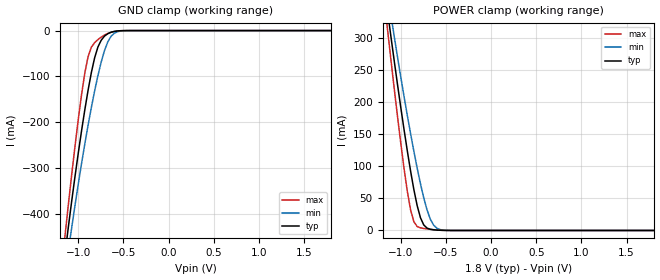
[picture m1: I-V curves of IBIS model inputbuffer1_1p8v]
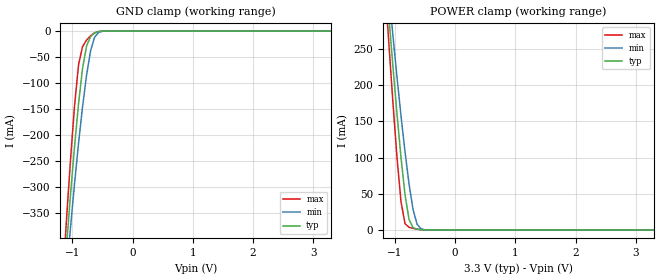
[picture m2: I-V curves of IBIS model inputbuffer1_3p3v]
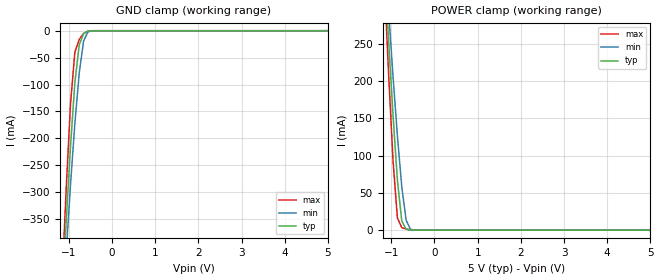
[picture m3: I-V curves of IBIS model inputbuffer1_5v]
|   ADI IBIS Modeling
[IBIS Ver]   3.2
[File Name]   adm3055e_20ld_soic.ibs
[File Rev]   1.0
[Date]   June 4, 2018
[Source]   Analog Devices, Inc.
[Disclaimer]
|   IBIS MODEL LICENSE AND DISCLAIMER AGREEMENT
|  Before downloading or using the below-referenced IBIS model, please read and
|  accept the license agreement and disclaimer shown below.
|   LICENSE STATEMENT
|  The information in this IBIS model is protected under the copyright laws of
|  the United States and other countries. Analog Devices, Inc. ("ADI") hereby
|  grants the users of this IBIS model (hereto referred to as licensee) a
|  nonexclusive, nontransferable license to use this IBIS model as long as the
|  licensee abides by the terms of this agreement.
|  Before using the IBIS model, the licensee should read this license. By using
|  , copying, modifying or redistributing this IBIS model,licensee accepts and
|  agrees to become bound by the terms of this agreement. If the licensee does
|  not accept these terms, then the licensee should not use the IBIS model and
|  should return it to ADI immediately.
|  The licensee may not sell, loan, rent, lease, distribute or license the IBIS
|  model,in whole, in part, or in modified form, to anyone outside the
|  licensee's company. The licensee may modify the IBIS model to suit his
|  specific applications, provided that all rights in such modifications and
|  derivative works shall belong to ADI. The licensee may make copies of this
|  IBIS model for use within his company only.
|  THIS IBIS MODEL IS PROVIDED AS IS, WHERE IS, AND WITH NO WARRANTY OF ANY
|  KIND EITHER EXPRESSED OR IMPLIED, INCLUDING BUT NOT LIMITED TO ANY IMPLIED
|  WARRANTIES OF MERCHANTABILITY AND FITNESS FOR A PARTICULAR PURPOSE.
|  Licensee understands that the mathematical behavioral characteristics and
|  formulas for the IBIS model have not been fully characterized for production
|  specification or exact compliance to actual part operation. The IBIS model
|  is useful for general simulations but not intended for safety critical,
|  manufacturing yield, or similar safety or financial decision making
|  simulations. IN NO EVENT SHALL THE ACCRUED TOTAL LIABILITY OF ANALOG DEVICES
|  , INC. FROM ANY LAWSUIT, CLAIM, WARRANTY OR INDEMNITY EXCEED One Hundred
|  Dollars ($100.00). In no event will ADI be liable for indirect, special,
|  collateral, incidental, consequential or punitive damages in connection with
|  or arising out of the use of this IBIS model. ADI reserves the right to
|  make changes to its products and the IBIS model without prior notice.
|  The Parties agree that the foregoing terms constitute the entire agreement
|  and that this agreement shall be governed by and construed in accordance
|  with the laws of the Commonwealth of Massachusetts and the United States,
|  without regard to choice of law provisions.
|   RLC Package Parasitic
|  This part comes in 20-lead SOIC_IC (Wide Body with Increased Creepage)
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[Copyright]
|   This model is an exclusive property of Analog Devices Inc
|   and is not to be resold or redistributed without the written
|   permission of Analog Devices.
|   Copyright(c) 2013 Analog Devices, All Rights Reserved
[Component]   adm3055e
[Manufacturer] Analog Devices, Inc.
[Package]
|20-lead SOIC_IC
| variable   typ   min   max
R_pkg 1.00E-02 1.00E-02 1.00E-02
L_pkg 2.01E-09 1.87E-09 2.15E-09
C_pkg 5.25E-13 4.83E-13 5.67E-13
[Pin] signal_name   model_name
1 GND1 GND
2 GND1 GND
3 VCC Power
4 VIO Power
5 RXD outputbuffer1
6 SILENT inputbuffer1
7 TXD inputbuffer2
8 STBY inputbuffer3
9 AUXin inputbuffer4
10 GND1 GND
11 GND2 GND
12 RS inputbuffer5
13 CANL i/o_open_drain
14 CANH i/o_open_source
15 GND2 GND
16 VISOin Power
17 AUXout outputbuffer2
18 GNDiso GND
19 VISOout Power
20 GNDiso GND
[Diff Pin] inv_pin vdiff tdelay_typ tdelay_min tdelay_max
13  14  200mV  NA  NA  NA
[Model Selector] inputbuffer1
inputbuffer1_1p8v  1.8v vdd
inputbuffer1_3p3v  3.3v vdd
inputbuffer1_5v  5v vdd
[Model Selector] inputbuffer2
inputbuffer2_1p8v  1.8v vdd
inputbuffer2_3p3v  3.3v vdd
inputbuffer2_5v  5v vdd
[Model Selector] inputbuffer3
inputbuffer3_1p8v  1.8v vdd
inputbuffer3_3p3v  3.3v vdd
inputbuffer3_5v  5v vdd
[Model Selector] inputbuffer4
inputbuffer4_1p8v  1.8v vdd
inputbuffer4_3p3v  3.3v vdd
inputbuffer4_5v  5v vdd
[Model Selector] outputbuffer1
outputbuffer1_1p8v  1.8v vdd
outputbuffer1_3p3v  3.3v vdd
outputbuffer1_5v  5v vdd
[Model Selector] outputbuffer2
outputbuffer2_1p8v  1.8v vdd
outputbuffer2_3p3v  3.3v vdd
outputbuffer2_5v  5v vdd
| Models and submodels in the file (21): inputbuffer1_1p8v (Input), inputbuffer1_3p3v (Input), inputbuffer1_5v (Input), inputbuffer2_1p8v (Input), inputbuffer2_3p3v (Input), inputbuffer2_5v (Input), inputbuffer3_1p8v (Input), inputbuffer3_3p3v (Input), inputbuffer3_5v (Input), inputbuffer4_1p8v (Input), inputbuffer4_3p3v (Input), inputbuffer4_5v (Input), inputbuffer5 (Input), outputbuffer1_1p8v (3-state), outputbuffer1_3p3v (3-state), outputbuffer1_5v (3-state), outputbuffer2_1p8v (Output), outputbuffer2_3p3v (Output), outputbuffer2_5v (Output), i/o_open_drain (I/O_open_drain), i/o_open_source (I/O_open_source)
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|   Model: inputbuffer1_1p8v
[Model]   inputbuffer1_1p8v
Model_type Input
Vinl=0.63
Vinh=1.17
|   variable   typ   min   max
C_comp   2.711574e-12 2.536137e-12 2.929808e-12
[Temperature Range]   25   105   -40
[Voltage Range]   1.8   1.7   1.9
[Power Clamp Reference] 1.8   1.7   1.9
[GND Clamp Reference]   0   0   0
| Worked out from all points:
|   GND clamp passes 1 mA (typ) near -0.57 V on its own axis
|   POWER clamp passes 1 mA (typ) near -0.63 V on its own axis
[Power_clamp]
| Voltage   I(typ)   I(min)   I(max)
-1.8V     1.134A     1.044A     1.248A
-1.145V   341.1mA    369.5mA    312.2mA
-1.109V   302.5mA    335.9mA    266.6mA
-1.073V   264.8mA    302.9mA    221.9mA
-927.3mV  124.1mA    179.3mA    61.2mA
-890.9mV  92.55mA    150.8mA    32.1mA
-854.5mV  63.65mA    123.3mA    13.67mA
-818.2mV  38.76mA    97.28mA    6.212mA
-745.5mV  8.673mA    50.96mA    3.148mA
-672.7mV  1.836mA    17.74mA    1.771mA
-563.6mV  348.7uA    1.392mA    401.5uA
1.8V      -29.23pA   -2.186nA   -22.52pA
[GND_clamp]
| Voltage   I(typ)   I(min)   I(max)
-1.8V     -1.697A    -1.551A    -1.895A
-1.145V   -485.5mA   -531.2mA   -445.6mA
-1.109V   -427.9mA   -480.1mA   -379.1mA
-1.073V   -372.4mA   -430.3mA   -314.9mA
-963.6mV  -219.1mA   -290.2mA   -140.2mA
-890.9mV  -130mA     -206.2mA   -56.79mA
-818.2mV  -59.18mA   -131.3mA   -26.23mA
-781.8mV  -35.61mA   -97.96mA   -19.7mA
-709.1mV  -12.02mA   -43.38mA   -9.784mA
-636.4mV  -3.649mA   -12.44mA   -3.685mA
-527.3mV  -281.7uA   -873uA     -272.4uA
1.8V      51.5pA     3.167nA    47.22pA
|   Model: inputbuffer1_3p3v
[Model]   inputbuffer1_3p3v
Model_type Input
Vinl=1.155
Vinh=2.145
|   variable   typ   min   max
C_comp   2.621894e-12 2.387276e-12 2.992814e-12
[Temperature Range]   25   105   -40
[Voltage Range]   3.3   3   3.6
[Power Clamp Reference] 3.3   3   3.6
[GND Clamp Reference]   0   0   0
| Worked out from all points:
|   GND clamp passes 1 mA (typ) near -0.57 V on its own axis
|   POWER clamp passes 1 mA (typ) near -0.63 V on its own axis
[Power_clamp]
| Voltage   I(typ)   I(min)   I(max)
-3.3V     3.078A     2.669A     3.57A
-1.167V   364mA      389.5mA    339.3mA
-1.1V     293.1mA    327.6mA    255.4mA
-1.033V   225mA      268.2mA    174.9mA
-966.7mV  160.4mA    211.5mA    100.3mA
-900mV    100.3mA    157.8mA    38.97mA
-833.3mV  48.74mA    108mA      8.766mA
-766.7mV  14.65mA    63.57mA    3.657mA
-700mV    3.171mA    28.29mA    2.257mA
-633.3mV  1.02mA     8.008mA    1.164mA
-500mV    98.41uA    282.9uA    91.26uA
3.3V      -57.54pA   -1.03uA    -38.34pA
[GND_clamp]
| Voltage   I(typ)   I(min)   I(max)
-3.3V     -4.65A     -4.003A    -5.476A
-1.167V   -520.1mA   -561.5mA   -485.6mA
-1.1V     -414mA     -467.6mA   -363mA
-1.033V   -314.8mA   -378mA     -248.4mA
-966.7mV  -223.2mA   -294mA     -144.8mA
-900mV    -140.5mA   -216.4mA   -65.15mA
-833.3mV  -72.03mA   -146.2mA   -29.96mA
-766.7mV  -28.99mA   -85.26mA   -17.33mA
-700mV    -10.59mA   -38.31mA   -8.867mA
-633.3mV  -3.501mA   -11.92mA   -3.533mA
-433.3mV  -14.27uA   -59.79uA   -8.179uA
3.3V      93.15pA    1.216uA    84.93pA
|   Model: inputbuffer1_5v
[Model]   inputbuffer1_5v
Model_type Input
Vinl=1.75
Vinh=3.25
|   variable   typ   min   max
C_comp   2.562379e-12 2.340125e-12 2.785685e-12
[Temperature Range]   25   105   -40
[Voltage Range]   5   4.5   5.5
[Power Clamp Reference] 5   4.5   5.5
[GND Clamp Reference]   0   0   0
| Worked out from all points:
|   GND clamp passes 1 mA (typ) near -0.56 V on its own axis
|   POWER clamp passes 1 mA (typ) near -0.61 V on its own axis
[Power_clamp]
| Voltage   I(typ)   I(min)   I(max)
-5V       6.265A     4.605A     8.64A
-1.162V   358.6mA    384.8mA    332.9mA
-1.061V   252.6mA    292.2mA    207.4mA
-959.6mV  153.8mA    205.7mA    93.13mA
-858.6mV  67.03mA    126.4mA    16.4mA
-757.6mV  12.31mA    58.21mA    3.469mA
-656.6mV  1.494mA    13.37mA    1.513mA
-555.6mV  309.9uA    1.233mA    351uA
-454.5mV  31.95uA    91.46uA    23.2uA
5V        -139.8pA   -416.9uA   -102.2pA
[GND_clamp]
| Voltage   I(typ)   I(min)   I(max)
-5V       -9.924A    -7.798A    -12.74A
-1.162V   -512mA     -554.4mA   -476.2mA
-1.061V   -354.6mA   -414.2mA   -294.3mA
-959.6mV  -214.1mA   -285.5mA   -135.2mA
-858.6mV  -95.97mA   -171.9mA   -39.27mA
-757.6mV  -25.87mA   -78.06mA   -16.02mA
-656.6mV  -5.355mA   -18.94mA   -5.105mA
-555.6mV  -659.8uA   -2.03mA    -679.6uA
-353.5mV  -884.9nA   -5.698uA   -266.3nA
5V        141.2pA    281.3uA    128.8pA
